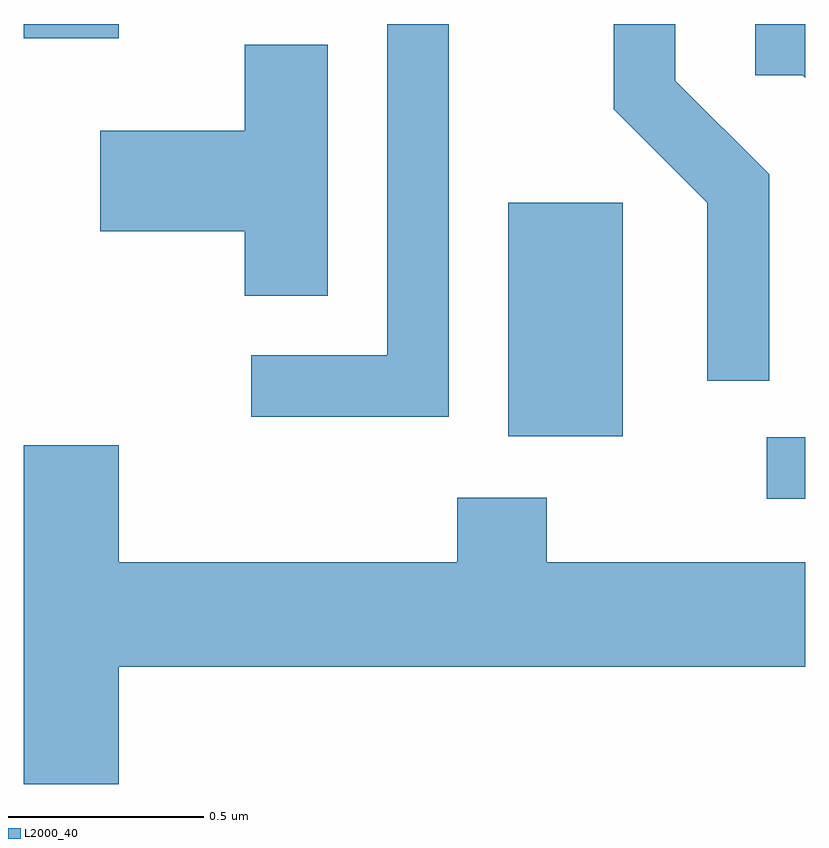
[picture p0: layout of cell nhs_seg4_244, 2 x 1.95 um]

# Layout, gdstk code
import gdstk
lib = gdstk.Library(unit=1e-6, precision=1e-09)
def R(c, l, rs):  # rectangles x0, y0, x1, y1
    for r in rs: c.add(gdstk.rectangle(r[:2], r[2:], *l))
def P(c, l, *ps):  # polygons
    for p in ps: c.add(gdstk.Polygon(p, *l))
L2000_40 = (2000, 40)

nhs_seg4_244 = lib.new_cell('nhs_seg4_244')
R(nhs_seg4_244, L2000_40, [(188.513,1361.766,188.611,1361.924), (187.851,1361.926,188.144,1362.524), (186.611,1362.946,186.854,1362.982)])
P(nhs_seg4_244, L2000_40, [(187.699,1362.982),(187.541,1362.982),(187.541,1362.134),(187.193,1362.134),(187.193,1361.976),(187.699,1361.976)],
  [(188.519,1362.597),(188.279,1362.837),(188.279,1362.982),(188.121,1362.982),(188.121,1362.764),(188.361,1362.524),(188.361,1362.068),(188.519,1362.068)],
  [(188.611,1362.982),(188.483,1362.982),(188.483,1362.851),(188.604,1362.851),(188.611,1362.844)],
  [(187.389,1362.929),(187.176,1362.929),(187.176,1362.709),(186.806,1362.709),(186.806,1362.451),(187.176,1362.451),(187.176,1362.286),(187.389,1362.286)],
  [(186.854,1361.336),(188.611,1361.336),(188.611,1361.604),(187.949,1361.604),(187.949,1361.769),(187.721,1361.769),(187.721,1361.604),(186.854,1361.604),(186.854,1361.904),(186.611,1361.904),(186.611,1361.036),(186.854,1361.036)])

lib.write_gds('nhs_seg4_244.gds')
